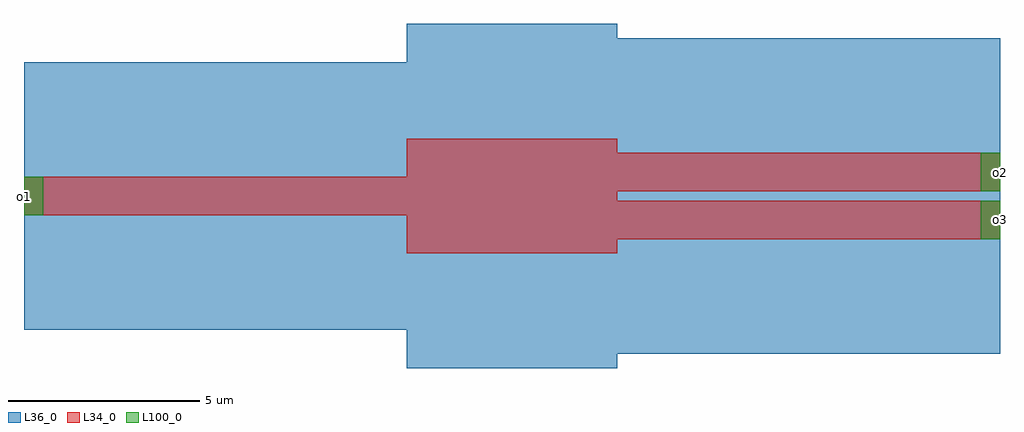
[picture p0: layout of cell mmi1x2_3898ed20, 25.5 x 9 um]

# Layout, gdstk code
import gdstk
lib = gdstk.Library(unit=1e-6, precision=1e-09)
def R(c, l, rs):  # rectangles x0, y0, x1, y1
    for r in rs: c.add(gdstk.rectangle(r[:2], r[2:], *l))
L34_0 = (34, 0)
L36_0 = (36, 0)
L100_0 = (100, 0)

mmi1x2_3898ed20 = lib.new_cell('mmi1x2_3898ed20')
R(mmi1x2_3898ed20, L34_0, [(0,-1.5,5.5,1.5), (5.5,-1.125,15.5,-0.125), (-10,-0.5,0,0.5), (5.5,0.125,15.5,1.125)])
R(mmi1x2_3898ed20, L36_0, [(0,-4.5,5.5,4.5), (5.5,-4.125,15.5,2.875), (-10,-3.5,0,3.5), (5.5,-2.875,15.5,4.125)])
R(mmi1x2_3898ed20, L100_0, [(15,-1.125,15.5,-0.125), (-10,-0.5,-9.5,0.5), (15,0.125,15.5,1.125)])
mmi1x2_3898ed20.add(gdstk.Label('o1', (-10,0), layer=100, texttype=0))
mmi1x2_3898ed20.add(gdstk.Label('o2', (15.5,0.625), layer=100, texttype=0))
mmi1x2_3898ed20.add(gdstk.Label('o3', (15.5,-0.625), layer=100, texttype=0))

lib.write_gds('mmi1x2_3898ed20.gds')
